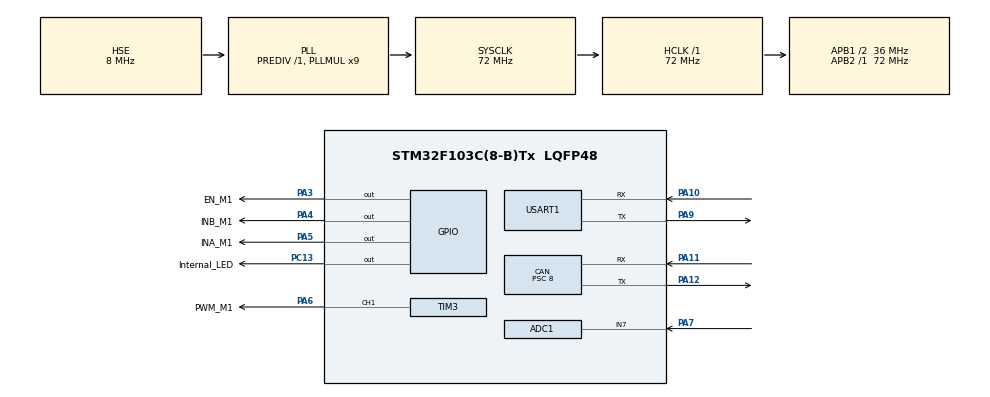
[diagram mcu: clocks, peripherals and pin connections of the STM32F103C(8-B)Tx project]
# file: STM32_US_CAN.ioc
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ADC1.Channel-0\#ChannelRegularConversion=ADC_CHANNEL_7
ADC1.NbrOfConversionFlag=1
ADC1.Rank-0\#ChannelRegularConversion=1
ADC1.SamplingTime-0\#ChannelRegularConversion=ADC_SAMPLETIME_1CYCLE_5
ADC1.master=1
CAN.BS1=CAN_BS1_12TQ
CAN.BS2=CAN_BS2_5TQ
CAN.CalculateTimeBit=4000
CAN.CalculateTimeQuantum=222.22222222222223
CAN.Prescaler=8
Mcu.Family=STM32F1
Mcu.Name=STM32F103C(8-B)Tx
Mcu.Package=LQFP48
NVIC.PriorityGroup=NVIC_PRIORITYGROUP_4
NVIC.USB_HP_CAN1_TX_IRQn=true\:0\:0\:false\:false\:true\:true\:true
NVIC.USB_LP_CAN1_RX0_IRQn=true\:0\:0\:false\:false\:true\:true\:true
PA10.Mode=Asynchronous
PA10.Signal=USART1_RX
PA11.Mode=Master
PA11.Signal=CAN_RX
PA12.Mode=Master
PA12.Signal=CAN_TX
PA13.Mode=Serial_Wire
PA13.Signal=SYS_JTMS-SWDIO
PA14.Mode=Serial_Wire
PA14.Signal=SYS_JTCK-SWCLK
PA3.GPIO_Label=EN_M1
PA3.Signal=GPIO_Output
PA4.GPIO_Label=INB_M1
PA4.Signal=GPIO_Output
PA5.GPIO_Label=INA_M1
PA5.Signal=GPIO_Output
PA6.GPIO_Label=PWM_M1
PA6.Signal=S_TIM3_CH1
PA7.Signal=ADCx_IN7
PA9.Mode=Asynchronous
PA9.Signal=USART1_TX
PC13-TAMPER-RTC.GPIO_Label=Internal_LED
PC13-TAMPER-RTC.Signal=GPIO_Output
PD0-OSC_IN.Mode=HSE-External-Oscillator
PD0-OSC_IN.Signal=RCC_OSC_IN
PD1-OSC_OUT.Mode=HSE-External-Oscillator
PD1-OSC_OUT.Signal=RCC_OSC_OUT
ProjectManager.HeapSize=0x200
ProjectManager.StackSize=0x400
ProjectManager.TargetToolchain=EWARM V8.32
RCC.ADCPresc=RCC_ADCPCLK2_DIV6
RCC.AHBFreq_Value=72000000
RCC.APB1CLKDivider=RCC_HCLK_DIV2
RCC.APB1Freq_Value=36000000
RCC.APB1TimFreq_Value=72000000
RCC.APB2Freq_Value=72000000
RCC.APB2TimFreq_Value=72000000
RCC.HCLKFreq_Value=72000000
RCC.PLLMUL=RCC_PLL_MUL9
RCC.PLLSourceVirtual=RCC_PLLSOURCE_HSE
RCC.SYSCLKFreq_VALUE=72000000
RCC.SYSCLKSource=RCC_SYSCLKSOURCE_PLLCLK
RCC.USBFreq_Value=48000000
RCC.USBPrescaler=RCC_USBCLKSOURCE_PLL_DIV1_5
SH.ADCx_IN7.0=ADC1_IN7,IN7
SH.S_TIM3_CH1.0=TIM3_CH1,PWM Generation1 CH1
TIM3.Channel-PWM\ Generation1\ CH1=TIM_CHANNEL_1
TIM3.Period=4094
USART1.VirtualMode=VM_ASYNC
VP_TIM3_VS_ClockSourceINT.Mode=Internal
board=custom

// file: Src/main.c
/* USER CODE BEGIN Header */
/**
  ******************************************************************************
  * @file           : main.c
  * @brief          : Main program body
  ******************************************************************************
  * @attention
  *
  * <h2><center>&copy; Copyright (c) 2020 STMicroelectronics.
  * All rights reserved.</center></h2>
  *
  * This software component is licensed by ST under BSD 3-Clause license,
  * the "License"; You may not use this file except in compliance with the
  * License. You may obtain a copy of the License at:
  *                        opensource.org/licenses/BSD-3-Clause
  *
  ******************************************************************************
  */
/* USER CODE END Header */

#include "main.h"

/* USER CODE BEGIN Includes */

#include <stdarg.h>
#include <string.h>
#include <errno.h>
#include <sys/unistd.h>
#include "MotorDriver.h"

#define RX_UART             huart1
#define PRINTF_UART         RX_UART

//u_int16_t brightness = 255;

/* USER CODE END Includes */

ADC_HandleTypeDef hadc1;

CAN_HandleTypeDef hcan;

TIM_HandleTypeDef htim3;

UART_HandleTypeDef huart1;

void SystemClock_Config(void);
static void MX_GPIO_Init(void);
static void MX_CAN_Init(void);
static void MX_USART1_UART_Init(void);
static void MX_TIM3_Init(void);
static void MX_ADC1_Init(void);
/* USER CODE BEGIN PFP */

void UART_Printf(const char* fmt, ...);
void HAL_UART_RxCpltCallback(UART_HandleTypeDef* huart);

/* USER CODE END PFP */

/* USER CODE BEGIN 0 */

// enable printf functionality on PRINTF_UART
int _write(int file, char *data, int len) {
  if((file != STDOUT_FILENO) && (file != STDERR_FILENO)) {
      errno = EBADF;
      return -1;
  }

  HAL_StatusTypeDef status = HAL_UART_Transmit(&PRINTF_UART, (uint8_t*)data, len, 1000);
  return (status == HAL_OK ? len : 0);
}

/* USER CODE END 0 */

int main(void)
{

  /* MCU Configuration--------------------------------------------------------*/

  /* Reset of all peripherals, Initializes the Flash interface and the Systick. */
  HAL_Init();

  /* Configure the system clock */
  SystemClock_Config();

  /* Initialize all configured peripherals */
  MX_GPIO_Init();
  MX_CAN_Init();
  MX_USART1_UART_Init();
  MX_TIM3_Init();
  MX_ADC1_Init();
  /* USER CODE BEGIN 2 */

  printf("CAN-Bus Testprogramm. System-Frequenz: %d Hz\n", HAL_RCC_GetSysClockFreq());

  CAN_TxHeaderTypeDef TxHeader;

  TxHeader.StdId = 0x4AE;
  TxHeader.IDE = CAN_ID_STD;
  TxHeader.RTR = CAN_RTR_DATA;
  TxHeader.DLC = 3;

  uint8_t txData[8] = {0x1B,0x65,0x1F2,0,0,0,0,0};

  for (int i=0;i < (sizeof (txData) /sizeof (txData[0]));i++) {
    printf("%d\n",txData[i]);
}

uint32_t txMailbox;

//HAL_CAN_ConfigFilter(&hcan,&sFilterConfig);
HAL_CAN_Start(&hcan);

//HAL_TIM_PWM_Start(&htim1,TIM_CHANNEL_1);
HAL_TIM_PWM_Start(&htim3,TIM_CHANNEL_1);
HAL_ADC_Start(&hadc1);

//__HAL_TIM_SET_COMPARE(&htim1,TIM_CHANNEL_1,brightness);

unsigned short speed;

  /* USER CODE END 2 */

  /* Infinite loop */
  /* USER CODE BEGIN WHILE */
  while (1)
  {

    //HAL_CAN_AddTxMessage(&hcan,&TxHeader,txData,&txMailbox);

        //HAL_Delay(10);

   if (HAL_ADC_PollForConversion(&hadc1,100) == HAL_OK)
   {
     speed = HAL_ADC_GetValue(&hadc1);
     printf(speed);
   }

   __HAL_TIM_SET_COMPARE(&htim3,TIM_CHANNEL_1,speed);
   printf("test");

   HAL_Delay(100);

    /* printf("test\n");
    HAL_GPIO_WritePin(Internal_LED_GPIO_Port,Internal_LED_Pin,GPIO_PIN_SET);
    HAL_Delay(1000);
    HAL_GPIO_WritePin(Internal_LED_GPIO_Port,Internal_LED_Pin,GPIO_PIN_RESET);
    HAL_Delay(1000); */
    /* USER CODE END WHILE */

  }
}

void SystemClock_Config(void)
{
  RCC_OscInitTypeDef RCC_OscInitStruct = {0};
  RCC_ClkInitTypeDef RCC_ClkInitStruct = {0};
  RCC_PeriphCLKInitTypeDef PeriphClkInit = {0};

  /** Initializes the CPU, AHB and APB busses clocks
  */
  RCC_OscInitStruct.OscillatorType = RCC_OSCILLATORTYPE_HSE;
  RCC_OscInitStruct.HSEState = RCC_HSE_ON;
  RCC_OscInitStruct.HSEPredivValue = RCC_HSE_PREDIV_DIV1;
  RCC_OscInitStruct.HSIState = RCC_HSI_ON;
  RCC_OscInitStruct.PLL.PLLState = RCC_PLL_ON;
  RCC_OscInitStruct.PLL.PLLSource = RCC_PLLSOURCE_HSE;
  RCC_OscInitStruct.PLL.PLLMUL = RCC_PLL_MUL9;
  if (HAL_RCC_OscConfig(&RCC_OscInitStruct) != HAL_OK)
  {
    Error_Handler();
  }
  /** Initializes the CPU, AHB and APB busses clocks
  */
  RCC_ClkInitStruct.ClockType = RCC_CLOCKTYPE_HCLK|RCC_CLOCKTYPE_SYSCLK
                              |RCC_CLOCKTYPE_PCLK1|RCC_CLOCKTYPE_PCLK2;
  RCC_ClkInitStruct.SYSCLKSource = RCC_SYSCLKSOURCE_PLLCLK;
  RCC_ClkInitStruct.AHBCLKDivider = RCC_SYSCLK_DIV1;
  RCC_ClkInitStruct.APB1CLKDivider = RCC_HCLK_DIV2;
  RCC_ClkInitStruct.APB2CLKDivider = RCC_HCLK_DIV1;

  if (HAL_RCC_ClockConfig(&RCC_ClkInitStruct, FLASH_LATENCY_2) != HAL_OK)
  {
    Error_Handler();
  }
  PeriphClkInit.PeriphClockSelection = RCC_PERIPHCLK_ADC;
  PeriphClkInit.AdcClockSelection = RCC_ADCPCLK2_DIV6;
  if (HAL_RCCEx_PeriphCLKConfig(&PeriphClkInit) != HAL_OK)
  {
    Error_Handler();
  }
}

static void MX_ADC1_Init(void)
{

  ADC_ChannelConfTypeDef sConfig = {0};

  /** Common config
  */
  hadc1.Instance = ADC1;
  hadc1.Init.ScanConvMode = ADC_SCAN_DISABLE;
  hadc1.Init.ContinuousConvMode = DISABLE;
  hadc1.Init.DiscontinuousConvMode = DISABLE;
  hadc1.Init.ExternalTrigConv = ADC_SOFTWARE_START;
  hadc1.Init.DataAlign = ADC_DATAALIGN_RIGHT;
  hadc1.Init.NbrOfConversion = 1;
  if (HAL_ADC_Init(&hadc1) != HAL_OK)
  {
    Error_Handler();
  }
  /** Configure Regular Channel
  */
  sConfig.Channel = ADC_CHANNEL_7;
  sConfig.Rank = ADC_REGULAR_RANK_1;
  sConfig.SamplingTime = ADC_SAMPLETIME_1CYCLE_5;
  if (HAL_ADC_ConfigChannel(&hadc1, &sConfig) != HAL_OK)
  {
    Error_Handler();
  }

}

static void MX_CAN_Init(void)
{

  /* USER CODE BEGIN CAN_Init 0 */

  __HAL_RCC_CAN1_CLK_ENABLE();

  /* USER CODE END CAN_Init 0 */

  /* USER CODE BEGIN CAN_Init 1 */

  CAN_FilterTypeDef sFilterConfig;

  /* USER CODE END CAN_Init 1 */
  hcan.Instance = CAN1;
  hcan.Init.Prescaler = 8;
  hcan.Init.Mode = CAN_MODE_NORMAL;
  hcan.Init.SyncJumpWidth = CAN_SJW_1TQ;
  hcan.Init.TimeSeg1 = CAN_BS1_12TQ;
  hcan.Init.TimeSeg2 = CAN_BS2_5TQ;
  hcan.Init.TimeTriggeredMode = DISABLE;
  hcan.Init.AutoBusOff = DISABLE;
  hcan.Init.AutoWakeUp = DISABLE;
  hcan.Init.AutoRetransmission = DISABLE;
  hcan.Init.ReceiveFifoLocked = DISABLE;
  hcan.Init.TransmitFifoPriority = DISABLE;
  if (HAL_CAN_Init(&hcan) != HAL_OK)
  {
    Error_Handler();
  }
  /* USER CODE BEGIN CAN_Init 2 */

   /*##-2- Configure the CAN Filter ###########################################*/
	sFilterConfig.SlaveStartFilterBank = 0;
	sFilterConfig.FilterMode = CAN_FILTERMODE_IDMASK;
	sFilterConfig.FilterScale = CAN_FILTERSCALE_32BIT;
	sFilterConfig.FilterIdHigh = 0x0000;
	sFilterConfig.FilterIdLow = 0x0000;
	sFilterConfig.FilterMaskIdHigh = 0x0000;
	sFilterConfig.FilterMaskIdLow = 0x0000;
	sFilterConfig.FilterFIFOAssignment = CAN_FILTER_FIFO0;
	sFilterConfig.FilterActivation = DISABLE;
	sFilterConfig.FilterBank = 14;

  //HAL_CAN_ConfigFilter(&hcan,&sFilterConfig);

	if (HAL_CAN_ConfigFilter(&hcan, &sFilterConfig) != HAL_OK)
	{
	/* Filter configuration Error */
	Error_Handler();
	}

  /* USER CODE END CAN_Init 2 */

}

static void MX_TIM3_Init(void)
{

  TIM_ClockConfigTypeDef sClockSourceConfig = {0};
  TIM_MasterConfigTypeDef sMasterConfig = {0};
  TIM_OC_InitTypeDef sConfigOC = {0};

  htim3.Instance = TIM3;
  htim3.Init.Prescaler = 0;
  htim3.Init.CounterMode = TIM_COUNTERMODE_UP;
  htim3.Init.Period = 4094;
  htim3.Init.ClockDivision = TIM_CLOCKDIVISION_DIV1;
  htim3.Init.AutoReloadPreload = TIM_AUTORELOAD_PRELOAD_DISABLE;
  if (HAL_TIM_Base_Init(&htim3) != HAL_OK)
  {
    Error_Handler();
  }
  sClockSourceConfig.ClockSource = TIM_CLOCKSOURCE_INTERNAL;
  if (HAL_TIM_ConfigClockSource(&htim3, &sClockSourceConfig) != HAL_OK)
  {
    Error_Handler();
  }
  if (HAL_TIM_PWM_Init(&htim3) != HAL_OK)
  {
    Error_Handler();
  }
  sMasterConfig.MasterOutputTrigger = TIM_TRGO_RESET;
  sMasterConfig.MasterSlaveMode = TIM_MASTERSLAVEMODE_DISABLE;
  if (HAL_TIMEx_MasterConfigSynchronization(&htim3, &sMasterConfig) != HAL_OK)
  {
    Error_Handler();
  }
  sConfigOC.OCMode = TIM_OCMODE_PWM1;
  sConfigOC.Pulse = 0;
  sConfigOC.OCPolarity = TIM_OCPOLARITY_HIGH;
  sConfigOC.OCFastMode = TIM_OCFAST_DISABLE;
  if (HAL_TIM_PWM_ConfigChannel(&htim3, &sConfigOC, TIM_CHANNEL_1) != HAL_OK)
  {
    Error_Handler();
  }
  HAL_TIM_MspPostInit(&htim3);

}

static void MX_USART1_UART_Init(void)
{

  huart1.Instance = USART1;
  huart1.Init.BaudRate = 115200;
  huart1.Init.WordLength = UART_WORDLENGTH_8B;
  huart1.Init.StopBits = UART_STOPBITS_1;
  huart1.Init.Parity = UART_PARITY_NONE;
  huart1.Init.Mode = UART_MODE_TX_RX;
  huart1.Init.HwFlowCtl = UART_HWCONTROL_NONE;
  huart1.Init.OverSampling = UART_OVERSAMPLING_16;
  if (HAL_UART_Init(&huart1) != HAL_OK)
  {
    Error_Handler();
  }

}

static void MX_GPIO_Init(void)
{
  GPIO_InitTypeDef GPIO_InitStruct = {0};

  /* GPIO Ports Clock Enable */
  __HAL_RCC_GPIOC_CLK_ENABLE();
  __HAL_RCC_GPIOD_CLK_ENABLE();
  __HAL_RCC_GPIOA_CLK_ENABLE();

  /*Configure GPIO pin Output Level */
  HAL_GPIO_WritePin(Internal_LED_GPIO_Port, Internal_LED_Pin, GPIO_PIN_RESET);

  /*Configure GPIO pin Output Level */
  HAL_GPIO_WritePin(GPIOA, EN_M1_Pin|INB_M1_Pin|INA_M1_Pin, GPIO_PIN_RESET);

  /*Configure GPIO pin : Internal_LED_Pin */
  GPIO_InitStruct.Pin = Internal_LED_Pin;
  GPIO_InitStruct.Mode = GPIO_MODE_OUTPUT_PP;
  GPIO_InitStruct.Pull = GPIO_NOPULL;
  GPIO_InitStruct.Speed = GPIO_SPEED_FREQ_LOW;
  HAL_GPIO_Init(Internal_LED_GPIO_Port, &GPIO_InitStruct);

  /*Configure GPIO pins : EN_M1_Pin INB_M1_Pin INA_M1_Pin */
  GPIO_InitStruct.Pin = EN_M1_Pin|INB_M1_Pin|INA_M1_Pin;
  GPIO_InitStruct.Mode = GPIO_MODE_OUTPUT_PP;
  GPIO_InitStruct.Pull = GPIO_NOPULL;
  GPIO_InitStruct.Speed = GPIO_SPEED_FREQ_LOW;
  HAL_GPIO_Init(GPIOA, &GPIO_InitStruct);

}

void Error_Handler(void)
{
}

/************************ (C) COPYRIGHT STMicroelectronics *****END OF FILE****/
